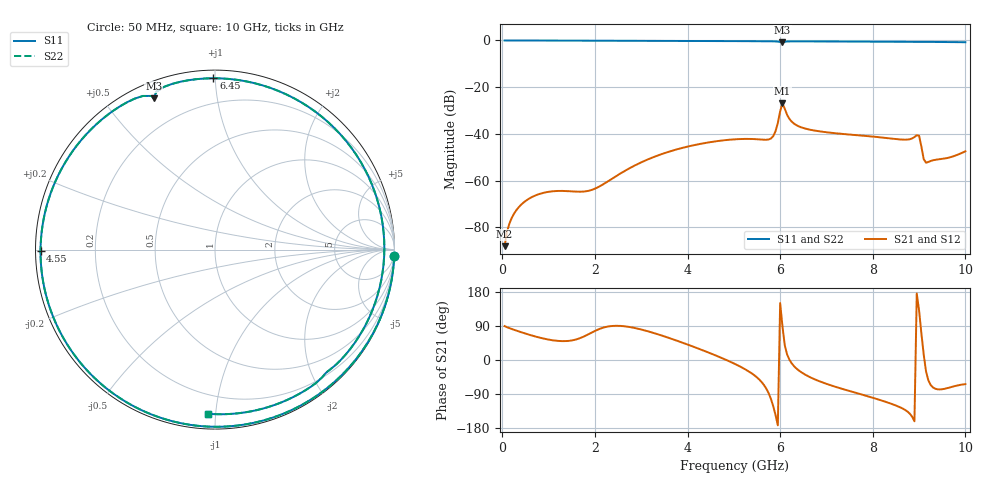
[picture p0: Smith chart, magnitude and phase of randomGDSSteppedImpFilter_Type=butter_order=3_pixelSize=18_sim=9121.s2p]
! freq	dB(S11)	phase(S11)	dB(S12)	phase(S12)
!  dB(S21)	phase(S21)	dB(S22)	phase(S22)
!S-par simulation data
#  GHz  S  DB  R 50
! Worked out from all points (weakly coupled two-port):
!   200 points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, 50 MHz to 10 GHz, reference 50 ohm
!   highest |S21| = -27.00 dB at 6.05 GHz (marker M1); lowest = -88.1 dB at 50 MHz (marker M2)
!   lowest |S11| = -0.8 dB at 6.05 GHz (marker M3), VSWR 21.03, Z = 3.45 + j33.6 ohm
!   |S11| at or under -10 dB: nowhere
!   |S22| runs from -0.8 to 0.0 dB; largest |S21 - S12| = 0
!   S11 on the Smith chart (normalised r, x): 50 MHz: 1, -54; 4.55 GHz: 0.01, -0.00; 6.45 GHz: 0.05, +0.99; 10 GHz: 0.08, -0.96
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0.05  -0.01 -2.1  -88.13 89.4  -88.13 89.4  -0.01 -2.1
0.15  -0.01 -6.2  -78.64 84.2  -78.64 84.2  -0.01 -6.2
0.4  -0.02 -16.6  -70.49 73.7  -70.49 73.7  -0.02 -16.6
0.7  -0.03 -28.9  -66.53 62.5  -66.53 62.5  -0.03 -28.9
1.75  -0.09 -70.9  -64.74 61.3  -64.74 61.3  -0.09 -71.0
2.55  -0.13 -101.8  -57.00 89.9  -57.00 89.9  -0.13 -101.8
3.4  -0.17 -134.2  -48.98 66.3  -48.98 66.3  -0.17 -134.2
4.55  -0.25 -179.6  -43.38 14.9  -43.38 14.9  -0.25 -179.7
5.05  -0.29 158.9  -42.32 -12.0  -42.32 -12.0  -0.29 158.9
5.8  -0.37 123.3  -42.03 -102.4  -42.03 -102.4  -0.38 123.3
5.9  -0.42 118.0  -38.90 -144.9  -38.90 -144.9  -0.42 118.0
6.05  -0.83 112.1  -27.00 88.6  -27.00 88.6  -0.83 112.1
6.2  -0.41 104.4  -33.61 0.7  -33.61 0.7  -0.41 104.4
6.45  -0.40 90.5  -37.19 -31.8  -37.19 -31.8  -0.40 90.5
6.7  -0.42 76.6  -38.46 -48.5  -38.46 -48.5  -0.42 76.6
7.1  -0.44 54.0  -39.56 -67.1  -39.56 -67.1  -0.44 54.0
7.6  -0.47 25.4  -40.50 -85.4  -40.50 -85.4  -0.47 25.4
8.35  -0.53 -15.8  -41.92 -113.4  -41.92 -113.4  -0.53 -15.8
9  -0.69 -48.0  -40.83 130.7  -40.83 130.7  -0.69 -48.0
9.1  -0.61 -52.6  -50.83 13.9  -50.83 13.9  -0.61 -52.5
9.15  -0.61 -55.0  -52.37 -30.0  -52.37 -30.0  -0.61 -55.0
10  -0.77 -92.4  -47.48 -63.6  -47.48 -63.6  -0.77 -92.3
